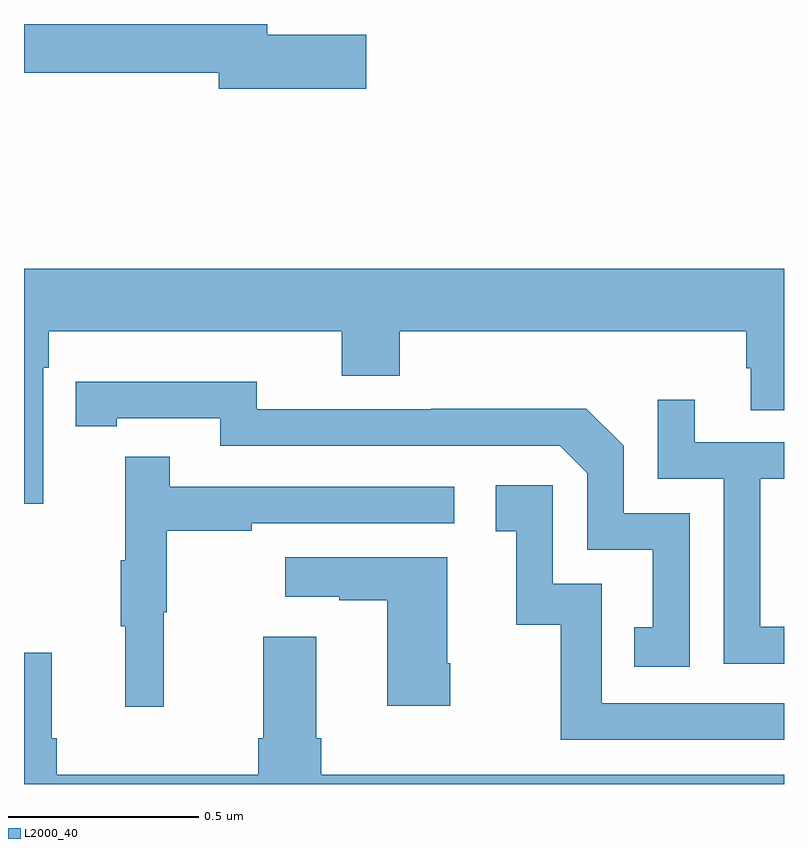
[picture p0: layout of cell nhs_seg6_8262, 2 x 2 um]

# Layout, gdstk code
import gdstk
lib = gdstk.Library(unit=1e-6, precision=1e-09)
def P(c, l, *ps):  # polygons
    for p in ps: c.add(gdstk.Polygon(p, *l))
L2000_40 = (2000, 40)

nhs_seg6_8262 = lib.new_cell('nhs_seg6_8262')
P(nhs_seg6_8262, L2000_40, [(219.901,925.472),(219.64,925.472),(219.64,925.5),(219,925.5),(219,925.372),(219.512,925.372),(219.512,925.33),(219.901,925.33)],
  [(219,924.237),(219.051,924.237),(219.051,924.596),(219.065,924.596),(219.065,924.692),(219.836,924.692),(219.836,924.575),(219.989,924.575),(219.989,924.692),(220.901,924.692),(220.901,924.594),(220.913,924.594),(220.913,924.484),(221,924.484),(221,924.856),(219,924.856)],
  [(220.752,924.213),(220.578,924.213),(220.578,924.39),(220.48,924.488),(220.072,924.488),(220.072,924.486),(219.612,924.486),(219.612,924.559),(219.244,924.559),(219.244,924.558),(219.136,924.558),(219.136,924.442),(219.244,924.442),(219.244,924.462),(219.516,924.462),(219.516,924.39),(220.41,924.39),(220.482,924.318),(220.482,924.117),(220.655,924.117),(220.655,923.913),(220.606,923.913),(220.606,923.808),(220.752,923.808)],
  [(221,923.914),(220.938,923.914),(220.938,924.303),(221,924.303),(221,924.399),(220.765,924.399),(220.765,924.511),(220.668,924.511),(220.668,924.303),(220.842,924.303),(220.842,923.817),(221,923.817)],
  [(219.368,923.952),(219.376,923.952),(219.376,924.166),(219.599,924.166),(219.599,924.186),(220.132,924.186),(220.132,924.282),(219.383,924.282),(219.383,924.361),(219.266,924.361),(219.266,924.089),(219.255,924.089),(219.255,923.915),(219.266,923.915),(219.266,923.703),(219.368,923.703)],
  [(221,923.712),(220.521,923.712),(220.521,924.027),(220.392,924.027),(220.392,924.286),(220.242,924.286),(220.242,924.165),(220.295,924.165),(220.295,923.919),(220.413,923.919),(220.413,923.616),(221,923.616)],
  [(220.122,923.818),(220.114,923.818),(220.114,924.097),(219.687,924.097),(219.687,923.993),(219.83,923.993),(219.83,923.983),(219.956,923.983),(219.956,923.706),(220.122,923.706)],
  [(221,923.524),(219.782,923.524),(219.782,923.62),(219.769,923.62),(219.769,923.887),(219.629,923.887),(219.629,923.62),(219.617,923.62),(219.617,923.524),(219.086,923.524),(219.086,923.62),(219.073,923.62),(219.073,923.845),(219,923.845),(219,923.5),(221,923.5)])

lib.write_gds('nhs_seg6_8262.gds')
